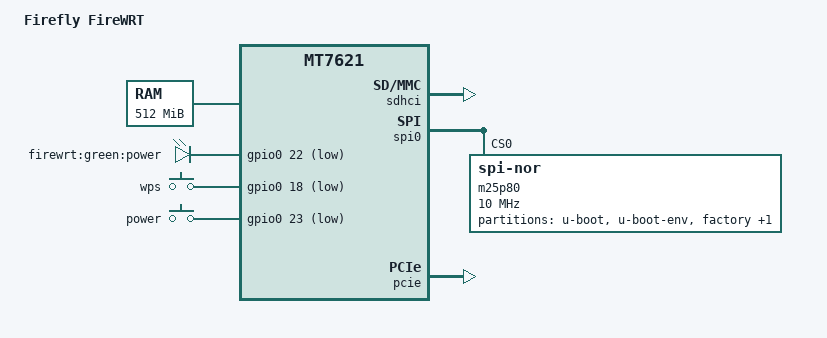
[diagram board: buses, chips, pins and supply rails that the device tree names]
/dts-v1/;

#include "mt7621.dtsi"

/ {
	compatible = "mediatek,mt7621-eval-board", "mediatek,mt7621-soc";
	model = "Firefly FireWRT";

	memory@0 {
		device_type = "memory";
		reg = <0x0 0x1c000000>, <0x20000000 0x4000000>;
	};

	chosen {
		bootargs = "console=ttyS0,57600";
	};

	gpio-leds {
		compatible = "gpio-leds";

		power {
			label = "firewrt:green:power";
			gpios = <&gpio0 22 1>;
		};
	};

	gpio-keys-polled {
		compatible = "gpio-keys-polled";
		#address-cells = <1>;
		#size-cells = <0>;
		poll-interval = <20>;

		wps {
			label = "wps";
			gpios = <&gpio0 18 1>;
			linux,code = <0x211>;
		};

		power {
			label = "power";
			gpios = <&gpio0 23 1>;
			linux,code = <116>;
		};
	};
};

&sdhci {
	status = "okay";
};

&spi0 {
	status = "okay";

	m25p80@0 {
		#address-cells = <1>;
		#size-cells = <1>;
		compatible = "jedec,spi-nor";
		reg = <0>;
		linux,modalias = "m25p80";
		spi-max-frequency = <10000000>;

		partition@0 {
			label = "u-boot";
			reg = <0x0 0x30000>;
			read-only;
		};

		partition@30000 {
			label = "u-boot-env";
			reg = <0x30000 0x10000>;
			read-only;
		};

		factory: partition@40000 {
			label = "factory";
			reg = <0x40000 0x10000>;
			read-only;
		};

		partition@50000 {
			label = "firmware";
			reg = <0x50000 0xfb0000>;
		};
	};
};

&pcie {
	status = "okay";

	pcie0 {
		mt76@0,0 {
			reg = <0x0000 0 0 0 0>;
			device_type = "pci";
			mediatek,mtd-eeprom = <&factory 0x8000>;
			mediatek,2ghz = <0>;
		};
	};

	pcie1 {
		mt76@1,0 {
			reg = <0x0000 0 0 0 0>;
			device_type = "pci";
			mediatek,mtd-eeprom = <&factory 0x0000>;
			mediatek,5ghz = <0>;
		};
	};
};

&ethernet {
	mtd-mac-address = <&factory 0xe000>;
};

&pinctrl {
	state_default: pinctrl0 {
		gpio {
			ralink,group = "wdt", "rgmii2";
			ralink,function = "gpio";
		};
	};
};
